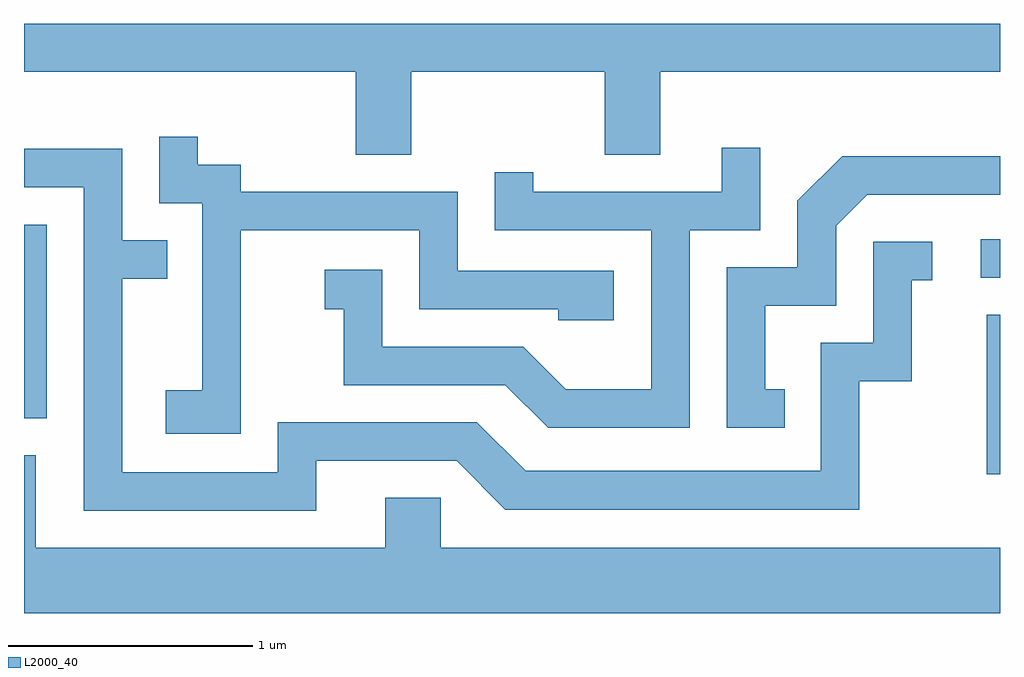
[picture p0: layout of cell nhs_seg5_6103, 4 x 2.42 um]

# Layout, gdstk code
import gdstk
lib = gdstk.Library(unit=1e-6, precision=1e-09)
def R(c, l, rs):  # rectangles x0, y0, x1, y1
    for r in rs: c.add(gdstk.rectangle(r[:2], r[2:], *l))
def P(c, l, *ps):  # polygons
    for p in ps: c.add(gdstk.Polygon(p, *l))
L2000_40 = (2000, 40)

nhs_seg5_6103 = lib.new_cell('nhs_seg5_6103')
R(nhs_seg5_6103, L2000_40, [(369.556,1486.226,369.611,1486.879), (365.611,1486.456,365.704,1487.249), (369.533,1487.031,369.611,1487.189)])
P(nhs_seg5_6103, L2000_40, [(367.199,1487.876),(367.991,1487.876),(367.991,1487.536),(368.219,1487.536),(368.219,1487.876),(369.611,1487.876),(369.611,1488.072),(365.611,1488.072),(365.611,1487.876),(366.971,1487.876),(366.971,1487.536),(367.199,1487.536)],
  [(366.499,1487.226),(367.231,1487.226),(367.231,1486.901),(367.801,1486.901),(367.801,1486.856),(368.029,1486.856),(368.029,1487.059),(367.389,1487.059),(367.389,1487.384),(366.499,1487.384),(366.499,1487.494),(366.324,1487.494),(366.324,1487.608),(366.166,1487.608),(366.166,1487.336),(366.341,1487.336),(366.341,1486.569),(366.191,1486.569),(366.191,1486.391),(366.499,1486.391)],
  [(368.339,1487.226),(368.629,1487.226),(368.629,1487.563),(368.471,1487.563),(368.471,1487.384),(367.699,1487.384),(367.699,1487.463),(367.541,1487.463),(367.541,1487.226),(368.181,1487.226),(368.181,1486.574),(367.832,1486.574),(367.657,1486.749),(367.079,1486.749),(367.079,1487.064),(366.843,1487.064),(366.843,1486.901),(366.921,1486.901),(366.921,1486.591),(367.584,1486.591),(367.759,1486.416),(368.339,1486.416)],
  [(366.809,1486.281),(367.384,1486.281),(367.584,1486.081),(369.034,1486.081),(369.034,1486.606),(369.249,1486.606),(369.249,1487.021),(369.333,1487.021),(369.333,1487.179),(369.091,1487.179),(369.091,1486.764),(368.876,1486.764),(368.876,1486.239),(367.667,1486.239),(367.467,1486.439),(366.651,1486.439),(366.651,1486.234),(366.014,1486.234),(366.014,1487.026),(366.198,1487.026),(366.198,1487.184),(366.014,1487.184),(366.014,1487.559),(365.611,1487.559),(365.611,1487.401),(365.856,1487.401),(365.856,1486.076),(366.809,1486.076)],
  [(368.728,1486.574),(368.649,1486.574),(368.649,1486.916),(368.939,1486.916),(368.939,1487.244),(369.067,1487.371),(369.611,1487.371),(369.611,1487.529),(368.964,1487.529),(368.781,1487.347),(368.781,1487.074),(368.491,1487.074),(368.491,1486.416),(368.728,1486.416)],
  [(369.611,1485.924),(367.319,1485.924),(367.319,1486.129),(367.091,1486.129),(367.091,1485.924),(365.659,1485.924),(365.659,1486.304),(365.611,1486.304),(365.611,1485.656),(369.611,1485.656)])

lib.write_gds('nhs_seg5_6103.gds')
